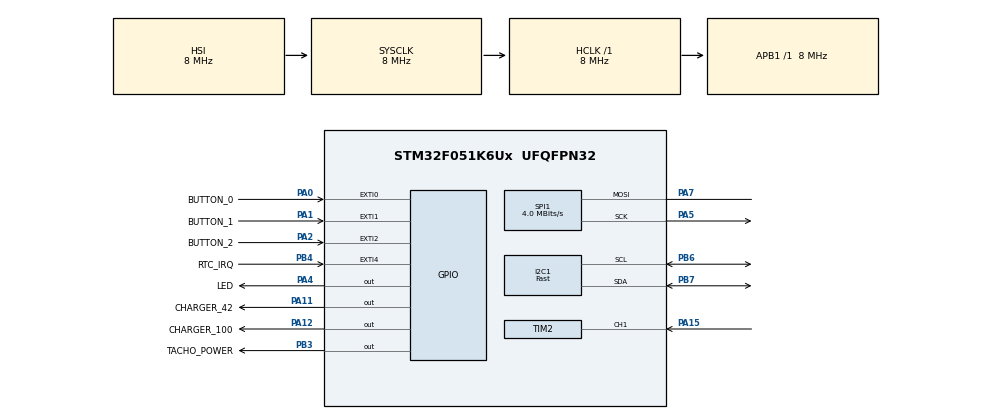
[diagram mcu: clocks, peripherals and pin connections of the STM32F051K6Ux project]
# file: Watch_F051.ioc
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I2C1.I2C_Speed_Mode=I2C_Fast
I2C1.Timing=0x0010020A
Mcu.Family=STM32F0
Mcu.Name=STM32F051K6Ux
Mcu.Package=UFQFPN32
NVIC.EXTI0_1_IRQn=true\:0\:0\:false\:false\:true\:true\:false\:true
NVIC.EXTI2_3_IRQn=true\:0\:0\:false\:false\:true\:true\:false\:true
NVIC.EXTI4_15_IRQn=true\:0\:0\:false\:false\:true\:true\:false\:true
NVIC.TIM2_IRQn=true\:0\:0\:false\:false\:true\:true\:true\:true
PA0.GPIO_Label=BUTTON_0
PA0.GPIO_ModeDefaultEXTI=GPIO_MODE_IT_FALLING
PA0.GPIO_PuPd=GPIO_PULLUP
PA0.Signal=GPXTI0
PA1.GPIO_Label=BUTTON_1
PA1.GPIO_ModeDefaultEXTI=GPIO_MODE_IT_FALLING
PA1.GPIO_PuPd=GPIO_PULLUP
PA1.Signal=GPXTI1
PA11.GPIO_Label=CHARGER_42
PA11.GPIO_ModeDefaultOutputPP=GPIO_MODE_OUTPUT_OD
PA11.GPIO_PuPd=GPIO_NOPULL
PA11.GPIO_Speed=GPIO_SPEED_FREQ_HIGH
PA11.PinState=GPIO_PIN_RESET
PA11.Signal=GPIO_Output
PA12.GPIO_Label=CHARGER_100
PA12.GPIO_ModeDefaultOutputPP=GPIO_MODE_OUTPUT_OD
PA12.GPIO_PuPd=GPIO_NOPULL
PA12.GPIO_Speed=GPIO_SPEED_FREQ_HIGH
PA12.PinState=GPIO_PIN_RESET
PA12.Signal=GPIO_Output
PA13.Mode=Serial_Wire
PA13.Signal=SYS_SWDIO
PA14.Mode=Serial_Wire
PA14.Signal=SYS_SWCLK
PA15.Signal=S_TIM2_CH1_ETR
PA2.GPIO_Label=BUTTON_2
PA2.GPIO_ModeDefaultEXTI=GPIO_MODE_IT_FALLING
PA2.GPIO_PuPd=GPIO_PULLUP
PA2.Signal=GPXTI2
PA4.GPIO_Label=LED
PA4.Signal=GPIO_Output
PA5.Mode=Simplex_Bidirectional_Master
PA5.Signal=SPI1_SCK
PA7.Mode=Simplex_Bidirectional_Master
PA7.Signal=SPI1_MOSI
PB3.GPIO_Label=TACHO_POWER
PB3.Signal=GPIO_Output
PB4.GPIO_Label=RTC_IRQ
PB4.GPIO_ModeDefaultEXTI=GPIO_MODE_IT_FALLING
PB4.GPIO_PuPd=GPIO_PULLUP
PB4.Signal=GPXTI4
PB6.Mode=I2C
PB6.Signal=I2C1_SCL
PB7.Mode=I2C
PB7.Signal=I2C1_SDA
ProjectManager.HeapSize=0x200
ProjectManager.StackSize=0x400
ProjectManager.TargetToolchain=EWARM V8.32
RCC.AHBFreq_Value=8000000
RCC.APB1Freq_Value=8000000
RCC.APB1TimFreq_Value=8000000
RCC.HCLKFreq_Value=8000000
RCC.PLLMUL=RCC_PLL_MUL12
RCC.PREFETCH_ENABLE=0
RCC.SYSCLKFreq_VALUE=8000000
SH.S_TIM2_CH1_ETR.0=TIM2_CH1,Input_Capture1_from_TI1
SPI1.BaudRatePrescaler=SPI_BAUDRATEPRESCALER_2
SPI1.CLKPhase=SPI_PHASE_1EDGE
SPI1.CLKPolarity=SPI_POLARITY_LOW
SPI1.CalculateBaudRate=4.0 MBits/s
SPI1.DataSize=SPI_DATASIZE_9BIT
SPI1.Direction=SPI_DIRECTION_1LINE
SPI1.Mode=SPI_MODE_MASTER
SPI1.VirtualType=VM_MASTER
TIM2.Channel-Input_Capture1_from_TI1=TIM_CHANNEL_1
board=custom

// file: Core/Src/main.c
/* USER CODE BEGIN Header */
/**
  ******************************************************************************
  * @file           : main.c
  * @brief          : Main program body
  ******************************************************************************
  * @attention
  *
  * Copyright (c) 2025 STMicroelectronics.
  * All rights reserved.
  *
  * This software is licensed under terms that can be found in the LICENSE file
  * in the root directory of this software component.
  * If no LICENSE file comes with this software, it is provided AS-IS.
  *
  ******************************************************************************
  */
/* USER CODE END Header */
#include "main.h"

/* USER CODE BEGIN Includes */
#include <stdlib.h>
#include <string.h>
#include <stdio.h>
#include "ste2007.h"
#include "LCD.h"
#include "stm32_ds3231.h"
#include "version.h"
#include "ftoa.h"
#include "itoa.h"
#include "MAX17055.h"
#include "bmp280.h"
#include "Adafruit_AMG88xx.h"
#include "bilinear.h"
/* USER CODE END Includes */

/* USER CODE BEGIN PM */
extern tFont Font12,Font18,Font24;
char TxBuffer [20];
char TxBuffer2 [10];
uint8_t BACK_COLOR=0x00, MENU_COLOR=0x01;
__IO uint8_t it_num=0;
uint8_t pressure_buf[96];
extern uint8_t v_buffer[2*14];
__IO uint16_t max_status=0,max_status2=0,max_fstat=0;
 extern __IO uint16_t key2_t,key2_int;

BMP280_HandleTypedef bmp280;
float pressure, temperature, humidity;

// amg8833
int16_t pixelsRaw[64];

#define RESIZE_X 32
#define RESIZE_Y 32

float temp_amg=0.0f;
int16_t amg_porog=30;

int16_t pixelsRawResize[RESIZE_X*RESIZE_Y];

void show_time_screen (uint8_t sec);
void show_bat_screen (void);
void show_teplo_screen (void);
void show_tacho_screen (void);
uint8_t menu_key(void);
void set_charge_current(uint8_t curr);
void HAL_TIM_IC_CaptureCallback(TIM_HandleTypeDef *htim);

void show_time_setup (void);
void show_time (uint8_t pos);

/* USER CODE END PM */

I2C_HandleTypeDef hi2c1;

SPI_HandleTypeDef hspi1;

TIM_HandleTypeDef htim2;

void SystemClock_Config(void);
static void MX_GPIO_Init(void);
static void MX_I2C1_Init(void);
static void MX_SPI1_Init(void);
static void MX_TIM2_Init(void);

/* USER CODE BEGIN 0 */

_RTC rtc = {
    .Year = 0, .Month = 0, .Date = 0,
    .DaysOfWeek = WEDNESDAY,
    .Hour = 0, .Min = 0, .Sec = 0
};

_RTC rtc_sys = {0};
_RTC rtc_sec = {0};
_RTC rtc_sec_end = {0};

float rtcTemp;
float tf = 0.0f, pf = 0.0f, af = 0.0f, hf = 0.0f;

__IO uint32_t key1, key1_short, key1_long;
__IO uint32_t key2, key2_short, key2_long;
__IO uint32_t key3, key3_short, key3_long;
__IO uint32_t key4, key4_short, key4_long;

extern uint16_t id;

float batt_soc=0.0f,batt_current=0.0f,batt_voltage=0.0f,batt_empty_voltage=0.0f,bat_cycles=0.0f,batt_full_cap=0.0f,bat_res=0.0f;
__IO float design_cup=0.0f,full_cup=0.0f,rem_cap=0.0f,batt_time_empty=0.0f,batt_time_full=0.0f,max_temp=0.0f;
uint16_t adc_batt_voltage=0;
float age=0.0f;

uint8_t mode=1;         // 0 - режим часы, энергосбережение, 1 - режим информации о батарее, 2 - тепловизор, 3 - установка часов
  float pressure=0.0f;
  uint8_t p_count=0;
  uint16_t max_param_check=0;

  void parse_time (_RTC *rt);

__IO uint32_t key1, key1_short, key1_long;
__IO uint32_t key2, key2_short, key2_long;
__IO uint32_t key3, key3_short, key3_long;
__IO uint32_t key4, key4_short, key4_long;

  uint16_t min_thr=30;
  uint16_t m_count=0;
  uint8_t secundomer=0,charge_current=2;

  /* Captured Values */
uint32_t               uwIC2Value1 = 0;
uint32_t               uwIC2Value2 = 0;
uint32_t               uwDiffCapture = 0;

/* Capture index */
uint16_t               uhCaptureIndex = 0;

/* Frequency Value */
float               uwFrequency = 0.0f;

/* USER CODE END 0 */

int main(void)
{

  /* MCU Configuration--------------------------------------------------------*/

  /* Reset of all peripherals, Initializes the Flash interface and the Systick. */
  HAL_Init();

  /* Configure the system clock */
  SystemClock_Config();

  /* Initialize all configured peripherals */
  MX_GPIO_Init();
  MX_I2C1_Init();
  MX_SPI1_Init();
  MX_TIM2_Init();
  /* USER CODE BEGIN 2 */
    __HAL_RCC_PWR_CLK_ENABLE();

  ste2007_init();
  clear_screen();

  //HAL_TIM_OC_Start(&htim1,TIM_CHANNEL_1);
  //HAL_Delay(100);
  //HAL_TIM_OC_Stop(&htim1,TIM_CHANNEL_1);

  parse_time(&rtc_sys);            // 18.06.2025

  DS3231_Init(&hi2c1);

  DS3231_GetTime(&rtc);

  if(rtc.Year<25){
    DS3231_SetTime(&rtc_sys);           // 18.06.2025
  }

  amg88xxInit();

  amg88xx_sleep();

  max_param_check=check_variables();

  max17055_check();
  max17055Init_CM4(max_param_check,0);

  //if(!max_param_check){
  //  SaveCalibrationVariables();
  //}

  bmp280_init_default_params(&bmp280.params);
  bmp280.addr = BMP280_I2C_ADDRESS_0;
  bmp280.i2c = &hi2c1;
  while (!bmp280_init(&bmp280, &bmp280.params)) {
		draw_string("BMP FAIL",1,ADDR_LINE_LCD(0),&Font18,MENU_COLOR);
                HAL_Delay(1000);
                draw_string("BMP FAIL",1,ADDR_LINE_LCD(0),&Font18,BACK_COLOR);
                HAL_Delay(1000);
	}

  set_charge_current(charge_current);

  uint8_t regVal=0,led_on=0;

  if(mode==2){
        amg88xx_wake_up();
      }

  HAL_TIM_IC_MspDeInit(&htim2);
  HAL_GPIO_WritePin(LED_GPIO_Port,LED_Pin,GPIO_PIN_RESET);
  HAL_GPIO_WritePin(TACHO_POWER_GPIO_Port,TACHO_POWER_Pin,GPIO_PIN_RESET);
  /* USER CODE END 2 */

  /* Infinite loop */
  while (1)
  {

    /* USER CODE BEGIN 3 */

// опрос статуса rtc. общий цикл

    ReadRegister(DS3231_REG_STATUS, &regVal);

      if(regVal & DS3231_STA_A1F)
      {
        regVal &= ~DS3231_STA_A1F;
        WriteRegister(DS3231_REG_STATUS, regVal);
      }
      if(regVal & DS3231_STA_A2F)
      {
        regVal &= ~DS3231_STA_A2F;
        WriteRegister(DS3231_REG_STATUS, regVal);
      }

// давление. обший цикл
    bmp280_force_measurement(&bmp280);  // перед каждым измерением

    bmp280_read_float(&bmp280, &temperature, &pressure, &humidity);

    pressure=convert_pa_to_mm(pressure);

     if(m_count<min_thr){ // 30
       if(mode==0 || mode==1){
          m_count++;
       }
      }
      else{
        m_count=0;

        if((int32_t)pressure<789 && (int32_t)pressure>739){
          pressure_buf[p_count]=(uint8_t)((pressure-740.0f)/(48.0f/20.0f));  // давление от 740 до 788. 20 пикселей
        }
      if(p_count<95){
        p_count++;
      }
      else{
        p_count=0;
      }
    }

// опрос макс17055. разделить по необходимости
    batt_current=getInstantaneousCurrent();
    batt_voltage=getInstantaneousVoltage();
    bat_cycles=getCycles();
    batt_soc=getSOC();
    bat_res=getBat_Res_mOhm();
    design_cup=getCapacity();
    full_cup=getFullCapRep();
    rem_cap=getRemainingCapacity();
    max_temp=get_temperature();
    batt_time_empty=getTimeToEmpty();
    batt_time_full=getTimeToFull();
    max_fstat=max17055_get_fstat();
    max_status2=max17055_get_status2();

    if(max_fstat & FSTAT_EDET_BIT){     // низкое напряжение
      if((int32_t)(batt_current*100.0f)<0){     // разряд батареи
        if(mode==2 || mode==4){                 // энергоёмкие режимы
          mode=0;
        }
      }
    }

// запрос времени с rtc. общий цикл
    DS3231_GetTime(&rtc);

    if(mode==3){        // выход из режима установки времени
      mode=4;
    }

    if(it_num==1){   // верх слева. режим

      clear_screen();
      if(mode==2){
        amg88xx_sleep();
      }
      if(mode>3){
        HAL_GPIO_WritePin(TACHO_POWER_GPIO_Port,TACHO_POWER_Pin,GPIO_PIN_RESET);
        HAL_TIM_IC_Stop_IT(&htim2, TIM_CHANNEL_1);
        mode=0;
      }
      else{
        mode++;
      }
      led_on=1;
      if(mode==2){
        amg88xx_wake_up();
      }

    }
    if(it_num==3 && mode==1){
      if(charge_current<3){
        charge_current++;
        set_charge_current(charge_current);
      }
    }
    if(it_num==2 && mode==1){
      if(charge_current){
          charge_current--;
          set_charge_current(charge_current);
      }
    }
    if(it_num==3 && mode==2){
      amg_porog++;
    }
    if(it_num==2 && mode==2){
      amg_porog--;
    }
    if(it_num==2 && mode==0){   // time screen
      if(secundomer<2){
        secundomer++;
      }
      else{
        secundomer=0;
      }
    }

    it_num=0;

// отображение

    if(mode==0){
      if(secundomer==0){
        rtc_sec=rtc;
      }
      else if(secundomer==1){
        rtc_sec_end=rtc;
      }
      else{

      }
      show_time_screen(secundomer);     // 05.06.2025
    }
    else if(mode==1){
      show_bat_screen();
    }
    else if(mode==2){
      show_teplo_screen();
    }
    else if(mode==3){
      show_time_setup();
    }
    else if(mode==4){
      HAL_GPIO_WritePin(TACHO_POWER_GPIO_Port,TACHO_POWER_Pin,GPIO_PIN_SET);
      HAL_TIM_IC_MspInit(&htim2);
      HAL_TIM_IC_Start_IT(&htim2, TIM_CHANNEL_1);
      show_tacho_screen();
      HAL_Delay(1000);
      HAL_TIM_IC_MspDeInit(&htim2);
    }
    if(led_on){
      led_on=0;
      HAL_GPIO_WritePin(LED_GPIO_Port,LED_Pin,GPIO_PIN_SET);
      HAL_Delay(1000);
      HAL_GPIO_WritePin(LED_GPIO_Port,LED_Pin,GPIO_PIN_RESET);
      SaveCalibrationVariables();
    }

    //HAL_Delay(100);

   if(mode==0 || mode==1){
    //HAL_Delay(3000);

    DS3231_SetAlarm_one_min();

    HAL_PWR_EnterSTOPMode(PWR_LOWPOWERREGULATOR_ON, PWR_STOPENTRY_WFI);

        // stop here
        SystemClock_Config();
        DS3231_ClearAlarm1();
        DS3231_ClearAlarm2();

   }

  }
  /* USER CODE END 3 */
}

void SystemClock_Config(void)
{
  RCC_OscInitTypeDef RCC_OscInitStruct = {0};
  RCC_ClkInitTypeDef RCC_ClkInitStruct = {0};
  RCC_PeriphCLKInitTypeDef PeriphClkInit = {0};

  /** Initializes the RCC Oscillators according to the specified parameters
  * in the RCC_OscInitTypeDef structure.
  */
  RCC_OscInitStruct.OscillatorType = RCC_OSCILLATORTYPE_HSI;
  RCC_OscInitStruct.HSIState = RCC_HSI_ON;
  RCC_OscInitStruct.HSICalibrationValue = RCC_HSICALIBRATION_DEFAULT;
  RCC_OscInitStruct.PLL.PLLState = RCC_PLL_NONE;
  if (HAL_RCC_OscConfig(&RCC_OscInitStruct) != HAL_OK)
  {
    Error_Handler();
  }

  /** Initializes the CPU, AHB and APB buses clocks
  */
  RCC_ClkInitStruct.ClockType = RCC_CLOCKTYPE_HCLK|RCC_CLOCKTYPE_SYSCLK
                              |RCC_CLOCKTYPE_PCLK1;
  RCC_ClkInitStruct.SYSCLKSource = RCC_SYSCLKSOURCE_HSI;
  RCC_ClkInitStruct.AHBCLKDivider = RCC_SYSCLK_DIV1;
  RCC_ClkInitStruct.APB1CLKDivider = RCC_HCLK_DIV1;

  if (HAL_RCC_ClockConfig(&RCC_ClkInitStruct, FLASH_LATENCY_0) != HAL_OK)
  {
    Error_Handler();
  }
  PeriphClkInit.PeriphClockSelection = RCC_PERIPHCLK_I2C1;
  PeriphClkInit.I2c1ClockSelection = RCC_I2C1CLKSOURCE_HSI;
  if (HAL_RCCEx_PeriphCLKConfig(&PeriphClkInit) != HAL_OK)
  {
    Error_Handler();
  }
}

static void MX_I2C1_Init(void)
{

  hi2c1.Instance = I2C1;
  hi2c1.Init.Timing = 0x0010020A;
  hi2c1.Init.OwnAddress1 = 0;
  hi2c1.Init.AddressingMode = I2C_ADDRESSINGMODE_7BIT;
  hi2c1.Init.DualAddressMode = I2C_DUALADDRESS_DISABLE;
  hi2c1.Init.OwnAddress2 = 0;
  hi2c1.Init.OwnAddress2Masks = I2C_OA2_NOMASK;
  hi2c1.Init.GeneralCallMode = I2C_GENERALCALL_DISABLE;
  hi2c1.Init.NoStretchMode = I2C_NOSTRETCH_DISABLE;
  if (HAL_I2C_Init(&hi2c1) != HAL_OK)
  {
    Error_Handler();
  }

  /** Configure Analogue filter
  */
  if (HAL_I2CEx_ConfigAnalogFilter(&hi2c1, I2C_ANALOGFILTER_ENABLE) != HAL_OK)
  {
    Error_Handler();
  }

  /** Configure Digital filter
  */
  if (HAL_I2CEx_ConfigDigitalFilter(&hi2c1, 0) != HAL_OK)
  {
    Error_Handler();
  }

}

static void MX_SPI1_Init(void)
{

  /* SPI1 parameter configuration*/
  hspi1.Instance = SPI1;
  hspi1.Init.Mode = SPI_MODE_MASTER;
  hspi1.Init.Direction = SPI_DIRECTION_1LINE;
  hspi1.Init.DataSize = SPI_DATASIZE_9BIT;
  hspi1.Init.CLKPolarity = SPI_POLARITY_LOW;
  hspi1.Init.CLKPhase = SPI_PHASE_1EDGE;
  hspi1.Init.NSS = SPI_NSS_SOFT;
  hspi1.Init.BaudRatePrescaler = SPI_BAUDRATEPRESCALER_2;
  hspi1.Init.FirstBit = SPI_FIRSTBIT_MSB;
  hspi1.Init.TIMode = SPI_TIMODE_DISABLE;
  hspi1.Init.CRCCalculation = SPI_CRCCALCULATION_DISABLE;
  hspi1.Init.CRCPolynomial = 7;
  hspi1.Init.CRCLength = SPI_CRC_LENGTH_DATASIZE;
  hspi1.Init.NSSPMode = SPI_NSS_PULSE_ENABLE;
  if (HAL_SPI_Init(&hspi1) != HAL_OK)
  {
    Error_Handler();
  }

}

static void MX_TIM2_Init(void)
{

  TIM_MasterConfigTypeDef sMasterConfig = {0};
  TIM_IC_InitTypeDef sConfigIC = {0};

  htim2.Instance = TIM2;
  htim2.Init.Prescaler = 0;
  htim2.Init.CounterMode = TIM_COUNTERMODE_UP;
  htim2.Init.Period = 4294967295;
  htim2.Init.ClockDivision = TIM_CLOCKDIVISION_DIV1;
  htim2.Init.AutoReloadPreload = TIM_AUTORELOAD_PRELOAD_DISABLE;
  if (HAL_TIM_IC_Init(&htim2) != HAL_OK)
  {
    Error_Handler();
  }
  sMasterConfig.MasterOutputTrigger = TIM_TRGO_RESET;
  sMasterConfig.MasterSlaveMode = TIM_MASTERSLAVEMODE_DISABLE;
  if (HAL_TIMEx_MasterConfigSynchronization(&htim2, &sMasterConfig) != HAL_OK)
  {
    Error_Handler();
  }
  sConfigIC.ICPolarity = TIM_INPUTCHANNELPOLARITY_RISING;
  sConfigIC.ICSelection = TIM_ICSELECTION_DIRECTTI;
  sConfigIC.ICPrescaler = TIM_ICPSC_DIV1;
  sConfigIC.ICFilter = 0;
  if (HAL_TIM_IC_ConfigChannel(&htim2, &sConfigIC, TIM_CHANNEL_1) != HAL_OK)
  {
    Error_Handler();
  }

}

static void MX_GPIO_Init(void)
{
  GPIO_InitTypeDef GPIO_InitStruct = {0};

  /* GPIO Ports Clock Enable */
  __HAL_RCC_GPIOF_CLK_ENABLE();
  __HAL_RCC_GPIOA_CLK_ENABLE();
  __HAL_RCC_GPIOB_CLK_ENABLE();

  /*Configure GPIO pin Output Level */
  HAL_GPIO_WritePin(GPIOA, LED_Pin|CHARGER_42_Pin|CHARGER_100_Pin, GPIO_PIN_RESET);

  /*Configure GPIO pin Output Level */
  HAL_GPIO_WritePin(TACHO_POWER_GPIO_Port, TACHO_POWER_Pin, GPIO_PIN_RESET);

  /*Configure GPIO pins : PF0 PF1 */
  GPIO_InitStruct.Pin = GPIO_PIN_0|GPIO_PIN_1;
  GPIO_InitStruct.Mode = GPIO_MODE_ANALOG;
  GPIO_InitStruct.Pull = GPIO_NOPULL;
  HAL_GPIO_Init(GPIOF, &GPIO_InitStruct);

  /*Configure GPIO pins : BUTTON_0_Pin BUTTON_1_Pin BUTTON_2_Pin */
  GPIO_InitStruct.Pin = BUTTON_0_Pin|BUTTON_1_Pin|BUTTON_2_Pin;
  GPIO_InitStruct.Mode = GPIO_MODE_IT_FALLING;
  GPIO_InitStruct.Pull = GPIO_PULLUP;
  HAL_GPIO_Init(GPIOA, &GPIO_InitStruct);

  /*Configure GPIO pins : PA3 PA6 PA8 PA9
                           PA10 */
  GPIO_InitStruct.Pin = GPIO_PIN_3|GPIO_PIN_6|GPIO_PIN_8|GPIO_PIN_9
                          |GPIO_PIN_10;
  GPIO_InitStruct.Mode = GPIO_MODE_ANALOG;
  GPIO_InitStruct.Pull = GPIO_NOPULL;
  HAL_GPIO_Init(GPIOA, &GPIO_InitStruct);

  /*Configure GPIO pin : LED_Pin */
  GPIO_InitStruct.Pin = LED_Pin;
  GPIO_InitStruct.Mode = GPIO_MODE_OUTPUT_PP;
  GPIO_InitStruct.Pull = GPIO_NOPULL;
  GPIO_InitStruct.Speed = GPIO_SPEED_FREQ_LOW;
  HAL_GPIO_Init(LED_GPIO_Port, &GPIO_InitStruct);

  /*Configure GPIO pins : PB0 PB1 PB2 PB5
                           PB8 */
  GPIO_InitStruct.Pin = GPIO_PIN_0|GPIO_PIN_1|GPIO_PIN_2|GPIO_PIN_5
                          |GPIO_PIN_8;
  GPIO_InitStruct.Mode = GPIO_MODE_ANALOG;
  GPIO_InitStruct.Pull = GPIO_NOPULL;
  HAL_GPIO_Init(GPIOB, &GPIO_InitStruct);

  /*Configure GPIO pins : CHARGER_42_Pin CHARGER_100_Pin */
  GPIO_InitStruct.Pin = CHARGER_42_Pin|CHARGER_100_Pin;
  GPIO_InitStruct.Mode = GPIO_MODE_OUTPUT_OD;
  GPIO_InitStruct.Pull = GPIO_NOPULL;
  GPIO_InitStruct.Speed = GPIO_SPEED_FREQ_HIGH;
  HAL_GPIO_Init(GPIOA, &GPIO_InitStruct);

  /*Configure GPIO pin : TACHO_POWER_Pin */
  GPIO_InitStruct.Pin = TACHO_POWER_Pin;
  GPIO_InitStruct.Mode = GPIO_MODE_OUTPUT_PP;
  GPIO_InitStruct.Pull = GPIO_NOPULL;
  GPIO_InitStruct.Speed = GPIO_SPEED_FREQ_LOW;
  HAL_GPIO_Init(TACHO_POWER_GPIO_Port, &GPIO_InitStruct);

  /*Configure GPIO pin : RTC_IRQ_Pin */
  GPIO_InitStruct.Pin = RTC_IRQ_Pin;
  GPIO_InitStruct.Mode = GPIO_MODE_IT_FALLING;
  GPIO_InitStruct.Pull = GPIO_PULLUP;
  HAL_GPIO_Init(RTC_IRQ_GPIO_Port, &GPIO_InitStruct);

  /* EXTI interrupt init*/
  HAL_NVIC_SetPriority(EXTI0_1_IRQn, 0, 0);
  HAL_NVIC_EnableIRQ(EXTI0_1_IRQn);

  HAL_NVIC_SetPriority(EXTI2_3_IRQn, 0, 0);
  HAL_NVIC_EnableIRQ(EXTI2_3_IRQn);

  HAL_NVIC_SetPriority(EXTI4_15_IRQn, 0, 0);
  HAL_NVIC_EnableIRQ(EXTI4_15_IRQn);

}

/* USER CODE BEGIN 4 */
void parse_time (_RTC *rt){
  char temp[2];

  temp[0]=version_full[0];
  temp[1]=version_full[1];
  rt->Date=atoi(temp);

  temp[0]=version_full[3];
  temp[1]=version_full[4];
  rt->Month=atoi(temp);

  temp[0]=version_full[8];
  temp[1]=version_full[9];
  rt->Year=atoi(temp);

  temp[0]='0';
  temp[1]=version_full[11];
  rt->DaysOfWeek=atoi(temp);

  temp[0]=version_logo[0];
  temp[1]=version_logo[1];
  rt->Hour=atoi(temp);

  temp[0]=version_logo[3];
  temp[1]=version_logo[4];
  rt->Min=atoi(temp);

  temp[0]=version_logo[6];
  temp[1]=version_logo[7];
  rt->Sec=atoi(temp);

}

// нажатие кнопок:
// 1 - 1 верх слева
// 2 - 1 длинное
//3 - 2 низ слева
//4 - 2 длинное,
//5 - 3 низ справа
//6 - 3 длинное
//7 - 4 верх справа
//8 - 4 длинное
uint8_t menu_key(void){

        if(key1 || key2 || key3 || key4){

        if(key1){
          key1 = 0;
                if(key1_short){     // 1 короткое
                  key1_long = 0;
                  key1_short = 0;
                  return 1;
                  }
                if(key1_long){      // 1 длинное
                  key1_long = 0;
                  key1_short = 0;
                  return 2;
                  }
        }
        if(key2){
          key2 = 0;
                if(key2_short){     // 2 короткое
                  key2_short = 0;
                  key2_long = 0;
                  return 3;
                  }
                if(key2_long){      // 2 длинное
                  key2_long = 0;
                  key2_short = 0;
                  return 4;
                  }
        }
        if(key3){
          key3 = 0;
                if(key3_short){     // 3 короткое
                  key3_long = 0;
                  key3_short = 0;
                  return 5;
                  }
                if(key3_long){      // 3 длинное
                  key3_long = 0;
                  key3_short = 0;
                  return 6;
                  }
        }
        /*
        if(key4){
            key4 = 0;
                if(key4_short){     // 1 короткое
                  key4_long = 0;
                  key4_short = 0;
                  return 7;
                  }
                if(key4_long){      // 1 длинное
                  key4_short = 0;
                  key4_long = 0;
                  return 8;
                  }
        }
        */
      }
      return 0;
}

 uint32_t sec_count=0,min_count=0,hour_count=0,second_count=0;
void show_time_screen (uint8_t sec){
      sec_count=0;

      draw_string("0000000000000",1,ADDR_LINE_LCD(0),&Font18,BACK_COLOR);

      itoa(rtc.Hour,TxBuffer2,10);
      if(rtc.Hour<10){
        strcat(TxBuffer,"0");
      }
      strcat(TxBuffer,TxBuffer2);
      strcat(TxBuffer,":");
      if(rtc.Min<10){
        strcat(TxBuffer,"0");
      }
      itoa(rtc.Min,TxBuffer2,10);
      strcat(TxBuffer,TxBuffer2);

      //
      strcat(TxBuffer," ");

      ftoa(pressure,TxBuffer2,1);//"%.2f mmHg"
      strcat(TxBuffer,TxBuffer2);

      strcat(TxBuffer," ");
      if(rtc.DaysOfWeek>1){
        itoa(rtc.DaysOfWeek-1,TxBuffer2,10);
      }
      else{     // sunday
        itoa(7,TxBuffer2,10);
      }
      strcat(TxBuffer,TxBuffer2);

      draw_string(TxBuffer,1,ADDR_LINE_LCD(0),&Font18,MENU_COLOR);

      strcpy(TxBuffer,"");

    strcpy(TxBuffer,"");

    draw_string("00 00 00 0.000",1,ADDR_LINE_LCD(1),&Font18,BACK_COLOR);

    if(sec==0){                         // дата
      itoa(rtc.Date,TxBuffer2,10);
      if(rtc.Date<10){
        strcat(TxBuffer,"0");
      }
      strcat(TxBuffer,TxBuffer2);
      strcat(TxBuffer,".");
      itoa(rtc.Month,TxBuffer2,10);
      if(rtc.Month<10){
        strcat(TxBuffer,"0");
      }
      strcat(TxBuffer,TxBuffer2);
      strcat(TxBuffer,".");
      itoa(rtc.Year,TxBuffer2,10);
      if(rtc.Year<10){
        strcat(TxBuffer,"0");
      }
      strcat(TxBuffer,TxBuffer2);

    }
    else{                               // секундомер   1 - время от текущего 2 - время от окнечной метки времени

      if(sec==1){                               // секундомер запущен и отображается

      if(rtc.Date>rtc_sec.Date){
        sec_count+=(rtc.Date-rtc_sec.Date)*3600*24;
      }

      if(rtc.Hour>rtc_sec.Hour){
        sec_count+=(rtc.Hour-rtc_sec.Hour)*3600;
      }
      else{
        sec_count+=(rtc.Hour+24-rtc_sec.Hour)*3600;
        sec_count-=3600*24;
      }

      if(rtc.Min>rtc_sec.Min){
        sec_count+=(rtc.Min-rtc_sec.Min)*60;
      }
      else{
        sec_count+=(rtc.Min+60-rtc_sec.Min)*60;
        sec_count-=3600;
      }

      if(rtc.Sec>rtc_sec.Sec){
        sec_count+=rtc.Sec-rtc_sec.Sec;
      }
      else{
        sec_count+=rtc.Sec+60-rtc_sec.Sec;
        sec_count-=60;
      }
      }
      else if(sec==2){                          // остановка секундомера, отображение

      if(rtc_sec_end.Date>rtc_sec.Date){
        sec_count+=(rtc_sec_end.Date-rtc_sec.Date)*3600*24;
      }

      if(rtc_sec_end.Hour>rtc_sec.Hour){
        sec_count+=(rtc_sec_end.Hour-rtc_sec.Hour)*3600;
      }
      else{
        sec_count+=(rtc_sec_end.Hour+24-rtc_sec.Hour)*3600;
        sec_count-=3600*24;
      }

      if(rtc_sec_end.Min>rtc_sec.Min){
        sec_count+=(rtc_sec_end.Min-rtc_sec.Min)*60;
      }
      else{
        sec_count+=(rtc_sec_end.Min+60-rtc_sec.Min)*60;
        sec_count-=3600;
      }

      if(rtc_sec_end.Sec>rtc_sec.Sec){
        sec_count+=rtc_sec_end.Sec-rtc_sec.Sec;
      }
      else{
        sec_count+=rtc_sec_end.Sec+60-rtc_sec.Sec;
        sec_count-=60;
      }
      }

      hour_count=sec_count/3600;

      itoa(hour_count,TxBuffer2,10);
      if(hour_count<10){
        strcat(TxBuffer,"0");
      }
      strcat(TxBuffer,TxBuffer2);

      strcat(TxBuffer,":");

      min_count=(sec_count%3600)/60;

      itoa(min_count,TxBuffer2,10);
      if(min_count<10){
        strcat(TxBuffer,"0");
      }
      strcat(TxBuffer,TxBuffer2);

      strcat(TxBuffer,":");

      second_count=sec_count%60;

      itoa(second_count,TxBuffer2,10);
      if(second_count<10){
        strcat(TxBuffer,"0");
      }
      strcat(TxBuffer,TxBuffer2);
    }

      strcat(TxBuffer," ");

      ftoa(bat_cycles,TxBuffer2,1);
      strcat(TxBuffer,TxBuffer2);
      strcat(TxBuffer,"c");

      draw_string(TxBuffer,1,ADDR_LINE_LCD(1),&Font18,MENU_COLOR);

      strcpy(TxBuffer,"");

    draw_string("0000000000000",1,ADDR_LINE_LCD(2),&Font18,BACK_COLOR);

    itoa((uint16_t)batt_soc,TxBuffer2,10);
    strcat(TxBuffer,TxBuffer2);
    strcat(TxBuffer,"%");

    strcat(TxBuffer," ");
    ftoa(batt_current,TxBuffer2,1);
    strcat(TxBuffer,TxBuffer2);
    strcat(TxBuffer,"mA");

    draw_string(TxBuffer,1,ADDR_LINE_LCD(2),&Font18,MENU_COLOR);
    strcpy(TxBuffer,"");

    strcpy(TxBuffer,"");

          // график давления

      for(uint8_t i=0;i<96;i++){
        v_buffer[0]=0x00;
        v_buffer[1]=0x00;
        v_buffer[2]=0x00;
        set_pixel(0,19-pressure_buf[i],MENU_COLOR,1);//
        send_3_buff(i,ADDR_LINE_LCD(3));
      }
}

void show_bat_screen (void){
  draw_string("0000000000000",1,ADDR_LINE_LCD(0),&Font18,BACK_COLOR);

      itoa(rtc.Hour,TxBuffer2,10);
      if(rtc.Hour<10){
        strcat(TxBuffer,"0");
      }
      strcat(TxBuffer,TxBuffer2);
      strcat(TxBuffer,":");
      if(rtc.Min<10){
        strcat(TxBuffer,"0");
      }
      itoa(rtc.Min,TxBuffer2,10);
      strcat(TxBuffer,TxBuffer2);

      //
      strcat(TxBuffer," ");

      //ftoa(pressure,TxBuffer2,1);//"%.2f mmHg"
      ftoa(bat_res,TxBuffer2,0);
      strcat(TxBuffer,TxBuffer2);
      strcat(TxBuffer,"m");

      strcat(TxBuffer," ");
      if(rtc.DaysOfWeek>1){
        itoa(rtc.DaysOfWeek-1,TxBuffer2,10);
      }
      else{     // sunday
        itoa(7,TxBuffer2,10);
      }
      strcat(TxBuffer,TxBuffer2);

      draw_string(TxBuffer,1,ADDR_LINE_LCD(0),&Font18,MENU_COLOR);

      strcpy(TxBuffer,"");

    strcpy(TxBuffer,"");

    draw_string("00 00 00",1,ADDR_LINE_LCD(1),&Font18,BACK_COLOR);

      //ftoa(bat_res,TxBuffer2,1);
      //strcat(TxBuffer,TxBuffer2);
      //strcat(TxBuffer,"m");

      itoa((int32_t)full_cup,TxBuffer2,10);
      strcat(TxBuffer,TxBuffer2);
      strcat(TxBuffer,"mh");

      strcat(TxBuffer," ");

      itoa(charge_current,TxBuffer2,10);
      strcat(TxBuffer,TxBuffer2);

      if(max_fstat & FSTAT_RELDT_BIT){
      strcat(TxBuffer,"R");
      }
      if(max_fstat & FSTAT_RELDT2_BIT){
        strcat(TxBuffer,"R");
      }
      if(max_fstat & FSTAT_FQ_BIT){
        strcat(TxBuffer,"Q");
      }
      if(max_fstat & FSTAT_EDET_BIT){
        strcat(TxBuffer,"E");
      }
      if(max_status2 & STATUS2_Hib_BIT){
        strcat(TxBuffer,"H");
      }
      if(max_status2 & STATUS2_FullDet_BIT){
        strcat(TxBuffer,"F");
      }

      draw_string(TxBuffer,1,ADDR_LINE_LCD(1),&Font18,MENU_COLOR);

      strcpy(TxBuffer,"");

    draw_string("0000000000000",1,ADDR_LINE_LCD(2),&Font18,BACK_COLOR);
    itoa((uint16_t)batt_voltage,TxBuffer,10);
    strcat(TxBuffer,"mV");

    strcat(TxBuffer," ");
    ftoa(bat_cycles,TxBuffer2,1);
    strcat(TxBuffer,TxBuffer2);
    strcat(TxBuffer,"c");
    draw_string(TxBuffer,1,ADDR_LINE_LCD(2),&Font18,MENU_COLOR);
    strcpy(TxBuffer,"");

    draw_string("0000000000000",1,ADDR_LINE_LCD(3),&Font18,BACK_COLOR);
    itoa((uint16_t)batt_soc,TxBuffer2,10);
    strcat(TxBuffer,TxBuffer2);
    strcat(TxBuffer,"%");
    strcat(TxBuffer," ");
    ftoa(batt_current,TxBuffer2,2);
    strcat(TxBuffer,TxBuffer2);
    strcat(TxBuffer,"mA");

    draw_string(TxBuffer,1,ADDR_LINE_LCD(3),&Font18,MENU_COLOR);
    strcpy(TxBuffer2,"");
    strcpy(TxBuffer,"");
}

void show_teplo_screen (void){
    static uint16_t draw_count=0;
    static int16_t old_amg_porog=0;
    //temp_amg=readThermistor();
    readPixelsRaw(pixelsRaw);

    for(uint8_t i=0; i<64; i++){
      // знаковое число из 12 в 16 бит
      pixelsRaw[i]=pixelsRaw[i]<<4;
      pixelsRaw[i]=pixelsRaw[i]/16;//>>4
      // из формата дополнения до двух в знаковое
      if(pixelsRaw[i]<0){
        pixelsRaw[i]=0-((~pixelsRaw[i])+1);     // инверсия плюс 1
      }
      // из знакового в плавующую точку
      //pixels[i]=(float)(pixelsRaw[i])/4.0f;     // 1 lsb = 0.25 C
    }

    resizeBilinearGrey_draw(pixelsRaw,8, 8, RESIZE_X, RESIZE_Y);

    if(draw_count>24 || old_amg_porog!=amg_porog){      // 05.06.2025

      draw_count=0;
      old_amg_porog=amg_porog;
      itoa(amg_porog,TxBuffer,10);
      draw_string(TxBuffer,65,ADDR_LINE_LCD(0),&Font18,MENU_COLOR);

      ftoa(batt_current,TxBuffer,1);
      draw_string(TxBuffer,65,ADDR_LINE_LCD(1),&Font18,MENU_COLOR);

      itoa((uint16_t)batt_voltage,TxBuffer,10);
      draw_string(TxBuffer,65,ADDR_LINE_LCD(2),&Font18,MENU_COLOR);
     }
    else{
      draw_count++;
    }
    /*
    resizeBilinearGrey(pixelsRaw,pixelsOut,8, 8, RESIZE_X, RESIZE_Y);

    uint8_t data=0;
    uint16_t i=0,a=0,b=0;
  for(b=0;b<RESIZE_X;b++){      // столбцы от 0 до 64
   for(a=0;a<RESIZE_Y/8;a++){   // байты экрана
      lcd_set_row(a);
      lcd_set_col(b);
    for(i=0;i<8;i++){           // обработка одного бита
      if(pixelsOut[i+a*8+b*RESIZE_X]<amg_porog*4){
        data|=0x01<<i;
      }
    }
      LCD_data(data);
      data=0;
   }
  }
  */
}

void show_time_setup (void){
  uint8_t key=0;
  uint8_t temp=0;
  draw_string("SETUP TIME",1,ADDR_LINE_LCD(0),&Font18,MENU_COLOR);
  draw_string("CONT UP",1,ADDR_LINE_LCD(1),&Font18,MENU_COLOR);
  draw_string("EXIT DOWN",1,ADDR_LINE_LCD(2),&Font18,MENU_COLOR);

  key2_short = 0;
  key2_t = 0;
  key2 = 0;
  key2_int = 0;

  do{
    key=it_num;
    HAL_Delay(300);
  }
  while(key!=BUT_UP && key!=BUT_DOWN && key!=BUT_OK);

  if(key==BUT_OK || key==BUT_DOWN){
    it_num=0;
    clear_screen();
    return;
  }
  else if(key==BUT_UP){
    temp=rtc.Date;
    it_num=0;
        do{                         // установка дня
      key=it_num;
      if(key==BUT_DOWN){        // вниз
        key=0;
        it_num=0;
        if(temp){
          temp--;
        }
      }
      if(key==BUT_UP){       // вверх
        key=0;
        it_num=0;
        temp++;
      }
      if(temp<32 && temp>0){
        rtc.Date=temp;
      }
      show_time(0);
    }

    while(key!=BUT_OK);      // OK
    temp=rtc.Month;
    it_num=0;
    do{                         // установка месяца
      key=it_num;
      if(key==BUT_DOWN){        // вниз
        key=0;
        it_num=0;
        if(temp){
          temp--;
        }
      }
      if(key==BUT_UP){       // вверх
        key=0;
        it_num=0;
        temp++;
      }
      if(temp<13 && temp>0){
        rtc.Month=temp;
      }
      show_time(1);
    }
    while(key!=BUT_OK);      // OK
    temp=25;
    rtc.Year=temp;
    it_num=0;
        do{                         // установка года
      key=it_num;
      if(key==BUT_DOWN){        // вниз
        key=0;
        it_num=0;
        if(temp>25){
          temp--;
        }
      }
      if(key==BUT_UP){       // вверх
        key=0;
        it_num=0;
        temp++;
      }
      if(temp<99 && temp>24){
        rtc.Year=temp;
      }
      show_time(2);
    }
    while(key!=BUT_OK);      // OK
    temp=rtc.DaysOfWeek;
    it_num=0;
    do{                         // установка дня недели
      key=it_num;
      if(key==BUT_DOWN){        // вниз
        key=0;
        it_num=0;
        if(temp){
          temp--;
        }
      }
      if(key==BUT_UP){       // вверх
        key=0;
        it_num=0;
        temp++;
      }
      if(temp<8 && temp>0){
        rtc.DaysOfWeek=temp;
      }
      show_time(3);
    }
    while(key!=BUT_OK);      // OK
    temp=rtc.Hour;
    it_num=0;
    do{                         // установка часов
      key=it_num;
      if(key==BUT_DOWN){        // вниз
        key=0;
        it_num=0;
        if(temp){
          temp--;
        }
      }
      if(key==BUT_UP){       // вверх
        key=0;
        it_num=0;
        temp++;
      }
      if(temp<24){
        rtc.Hour=temp;
      }
      show_time(4);
    }
    while(key!=BUT_OK);      // OK
      temp=rtc.Min;
      it_num=0;
        do{                         // установка минут
      key=it_num;
      if(key==BUT_DOWN){        // вниз
        key=0;
        it_num=0;
        if(temp){
          temp--;
        }
      }
      if(key==BUT_UP){       // вверх
        key=0;
        it_num=0;
        temp++;
      }
      if(temp<60){
        rtc.Min=temp;
      }
      show_time(5);
    }
    while(key!=BUT_OK);      // OK
    temp=rtc.Sec;
    it_num=0;
    do{                         // установка секунд
      key=it_num;
      if(key==BUT_DOWN){        // вниз
        key=0;
        it_num=0;
        if(temp){
          temp--;
        }
      }
      if(key==BUT_UP){       // вверх
        key=0;
        it_num=0;
        temp++;
      }
      if(temp<60){
        rtc.Sec=temp;
      }
      show_time(6);
    }
    while(key!=BUT_OK);      // OK
    DS3231_SetTime(&rtc);
  }
  it_num=0;
  clear_screen();
  strcpy(TxBuffer2,"");
  strcpy(TxBuffer,"");
}

void show_time (uint8_t pos){

  strcpy(TxBuffer,"");
  strcpy(TxBuffer2,"");

   // 1-я строка
      draw_string("0000000000000",1,ADDR_LINE_LCD(0),&Font18,BACK_COLOR);

      //
      itoa(rtc.Hour,TxBuffer2,10);
      if(rtc.Hour<10){
        strcat(TxBuffer,"0");
      }
      strcat(TxBuffer,TxBuffer2);

      strcat(TxBuffer,":");
      if(rtc.Min<10){
        strcat(TxBuffer,"0");
      }
      itoa(rtc.Min,TxBuffer2,10);
      strcat(TxBuffer,TxBuffer2);

      strcat(TxBuffer,":");

      if(rtc.Sec<10){
        strcat(TxBuffer,"0");
      }
      itoa(rtc.Sec,TxBuffer2,10);
      strcat(TxBuffer,TxBuffer2);

      if(pos==4){
        draw_string_inv(TxBuffer,1,ADDR_LINE_LCD(0),&Font18,MENU_COLOR,0);
      }
      else if(pos==5){
        draw_string_inv(TxBuffer,1,ADDR_LINE_LCD(0),&Font18,MENU_COLOR,3);
      }
      else if(pos==6){
        draw_string_inv(TxBuffer,1,ADDR_LINE_LCD(0),&Font18,MENU_COLOR,6);
      }
      else{
        draw_string(TxBuffer,1,ADDR_LINE_LCD(0),&Font18,MENU_COLOR);
      }

      strcpy(TxBuffer,"");

      // 2-я строка
     draw_string("0000000000000",1,ADDR_LINE_LCD(1),&Font18,BACK_COLOR);

      itoa(rtc.Date,TxBuffer2,10);
      if(rtc.Date<10){
        strcat(TxBuffer,"0");
      }
      strcat(TxBuffer,TxBuffer2);
      strcat(TxBuffer,".");
      itoa(rtc.Month,TxBuffer2,10);
      if(rtc.Month<10){
        strcat(TxBuffer,"0");
      }
      strcat(TxBuffer,TxBuffer2);
      strcat(TxBuffer,".");
      itoa(rtc.Year,TxBuffer2,10);
      if(rtc.Year<10){
        strcat(TxBuffer,"0");
      }
      strcat(TxBuffer,TxBuffer2);

      if(pos==0){
        draw_string_inv(TxBuffer,1,ADDR_LINE_LCD(1),&Font18,MENU_COLOR,0);
      }
      else if(pos==1){
        draw_string_inv(TxBuffer,1,ADDR_LINE_LCD(1),&Font18,MENU_COLOR,3);
      }
      else if(pos==2){
        draw_string_inv(TxBuffer,1,ADDR_LINE_LCD(1),&Font18,MENU_COLOR,6);
      }
      else{
        draw_string(TxBuffer,1,ADDR_LINE_LCD(1),&Font18,MENU_COLOR);
      }
      // 3-я строка
      strcpy(TxBuffer,"");

       draw_string("0000000000000",1,ADDR_LINE_LCD(2),&Font18,BACK_COLOR);
       itoa(rtc.DaysOfWeek,TxBuffer,10);
       if(pos==3){
        draw_string_inv(TxBuffer,1,ADDR_LINE_LCD(2),&Font18,MENU_COLOR,0);
       }
       else{
         draw_string(TxBuffer,1,ADDR_LINE_LCD(2),&Font18,MENU_COLOR);
       }
}

void show_tacho_screen (void){

  uint32_t rpm=0;
  uint16_t i=0;
  uint8_t key=0;

  draw_string("0000000000000",1,ADDR_LINE_LCD(0),&Font18,BACK_COLOR);
  draw_string("Tacho mode",1,ADDR_LINE_LCD(0),&Font18,MENU_COLOR);

  do{
    key=it_num;

    if(i<100){
      i++;
      HAL_Delay(10);
    }
    else{
      i=0;
      batt_current=getInstantaneousCurrent();
      batt_soc=getSOC();
      max_fstat=max17055_get_fstat();

      strcpy(TxBuffer,"");
    draw_string("0000000000000",1,ADDR_LINE_LCD(3),&Font18,BACK_COLOR);
    itoa((uint16_t)batt_soc,TxBuffer2,10);
    strcat(TxBuffer,TxBuffer2);
    strcat(TxBuffer,"%");
    strcat(TxBuffer," ");
    ftoa(batt_current,TxBuffer2,1);
    strcat(TxBuffer,TxBuffer2);
    strcat(TxBuffer,"mA");
    draw_string(TxBuffer,1,ADDR_LINE_LCD(3),&Font18,MENU_COLOR);
    }

    if(rpm!=(uint32_t)(uwFrequency*60.0f)){

      draw_string("0000000000000",1,ADDR_LINE_LCD(1),&Font18,BACK_COLOR);
      ftoa(uwFrequency*60.0f,TxBuffer,1);
      draw_string(TxBuffer,1,ADDR_LINE_LCD(1),&Font18,MENU_COLOR);
      rpm=(uint32_t)(uwFrequency*60.0f);
    }

    if(max_fstat & FSTAT_EDET_BIT){     // низкое напряжение
      if((int32_t)(batt_current*100.0f)<0){     // разряд батареи
        if(mode==2 || mode==4){                 // энергоёмкие режимы
          mode=0;
          key=BUT_OK;
        }
      }
    }

  }
  while(key!=BUT_OK);

    strcpy(TxBuffer2,"");
    strcpy(TxBuffer,"");
    uwFrequency=0;
}

void set_charge_current(uint8_t curr){
  if(curr==0){
      HAL_GPIO_WritePin(CHARGER_100_GPIO_Port,CHARGER_100_Pin,GPIO_PIN_SET);      // 44.9мА
      HAL_GPIO_WritePin(CHARGER_42_GPIO_Port,CHARGER_42_Pin,GPIO_PIN_SET);          // 107,8мА
  }
  else if(curr==1){
      HAL_GPIO_WritePin(CHARGER_100_GPIO_Port,CHARGER_100_Pin,GPIO_PIN_RESET);      // 44.9мА
      HAL_GPIO_WritePin(CHARGER_42_GPIO_Port,CHARGER_42_Pin,GPIO_PIN_SET);          // 107,8мА
  }
  else if(curr==2){
      HAL_GPIO_WritePin(CHARGER_100_GPIO_Port,CHARGER_100_Pin,GPIO_PIN_SET);      // 44.9мА
      HAL_GPIO_WritePin(CHARGER_42_GPIO_Port,CHARGER_42_Pin,GPIO_PIN_RESET);          // 107,8мА
  }
  else{
      HAL_GPIO_WritePin(CHARGER_100_GPIO_Port,CHARGER_100_Pin,GPIO_PIN_RESET);      // 44.9мА
      HAL_GPIO_WritePin(CHARGER_42_GPIO_Port,CHARGER_42_Pin,GPIO_PIN_RESET);          // 107,8мА
  }
}

void HAL_TIM_IC_CaptureCallback(TIM_HandleTypeDef *htim)
{
  if (htim->Channel == HAL_TIM_ACTIVE_CHANNEL_1)
  {
    if(uhCaptureIndex == 0)
    {
      /* Get the 1st Input Capture value */
      uwIC2Value1 = HAL_TIM_ReadCapturedValue(htim, TIM_CHANNEL_1);
      uhCaptureIndex = 1;
    }
    else if(uhCaptureIndex == 1)
    {
      /* Get the 2nd Input Capture value */
      uwIC2Value2 = HAL_TIM_ReadCapturedValue(htim, TIM_CHANNEL_1);

      /* Capture computation */
      if (uwIC2Value2 > uwIC2Value1)
      {
        uwDiffCapture = (uwIC2Value2 - uwIC2Value1);
      }
      else if (uwIC2Value2 < uwIC2Value1)
      {
        /* 0xffffFFFF is max TIM2_CCRx value */
        uwDiffCapture = ((0xffffFFFF - uwIC2Value1) + uwIC2Value2) + 1;
      }
      else
      {
        /* If capture values are equal, we have reached the limit of frequency
           measures */
        Error_Handler();
      }
      /* Frequency computation: for this example TIMx (TIM2) is clocked by
         APB1Clk */
      uwFrequency = ((float)HAL_RCC_GetPCLK1Freq()) / uwDiffCapture;
      uhCaptureIndex = 0;
    }
  }
}
/* USER CODE END 4 */

void Error_Handler(void)
{
  __disable_irq();
  while (1)
  {
  }
}
